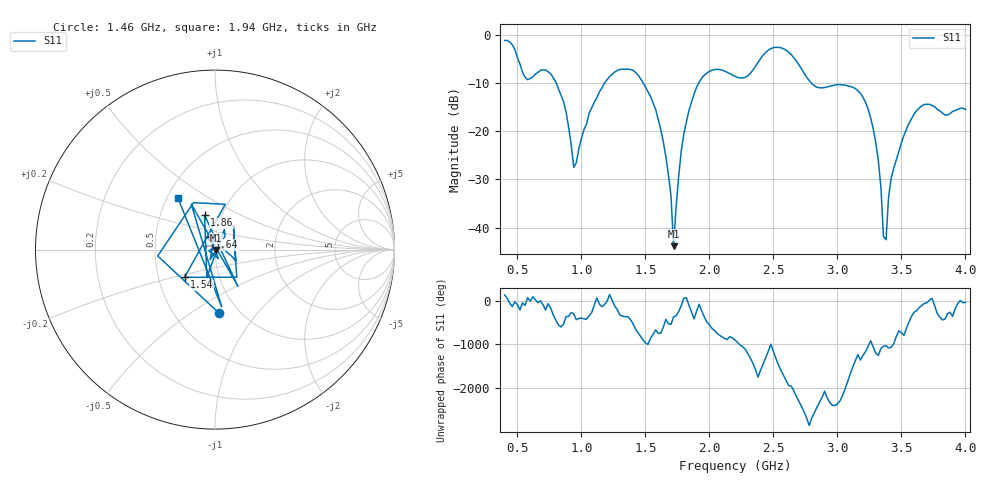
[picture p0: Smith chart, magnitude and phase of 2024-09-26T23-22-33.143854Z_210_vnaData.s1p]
!Created with skrf (http://scikit-rf.org).
# Hz S RI R 50.0
!freq ReS11 ImS11
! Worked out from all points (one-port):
!   181 points, 400 MHz to 4 GHz, reference 50 ohm
!   lowest |S11| = -43.9 dB at 1.72 GHz (marker M1), VSWR 1.01, Z = 50.6 - j0.155 ohm
!   |S11| at or under -10 dB: 802.6 MHz to 1.18 GHz (377.8 MHz wide, 38.1 % of centre); 1.483 GHz to 1.917 GHz (434.4 MHz wide, 25.6 % of centre); 2.795 GHz to end of sweep
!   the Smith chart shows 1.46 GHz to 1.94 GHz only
!   S11 on the Smith chart (normalised r, x): 1.46 GHz: 0.81, -0.65; 1.54 GHz: 0.68, -0.22; 1.64 GHz: 0.93, +0.13; 1.86 GHz: 0.83, +0.33; 1.94 GHz: 0.57, +0.37
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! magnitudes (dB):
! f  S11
! 400 MHz  -1.2
! 560 MHz  -8.8
! 720 MHz  -7.3
! 860 MHz  -13.8
! 940 MHz  -27.5
! 1.1 GHz  -14.0
! 1.3 GHz  -7.2
! 1.46 GHz  -9.0
! 1.54 GHz  -12.8
! 1.64 GHz  -22.2
! 1.7 GHz  -33.4
! 1.72 GHz  -43.9
! 1.76 GHz  -29.4
! 1.86 GHz  -14.0
! 1.94 GHz  -9.0
! 2.2 GHz  -8.6
! 2.5 GHz  -2.7
! 2.66 GHz  -4.8
! 2.84 GHz  -10.9
! 3.1 GHz  -10.7
! 3.28 GHz  -19.5
! 3.34 GHz  -31.6
! 3.36 GHz  -41.9
! 3.38 GHz  -42.5
! 3.42 GHz  -29.8
! 3.56 GHz  -18.4
! 3.68 GHz  -14.5
! 4 GHz  -15.5
